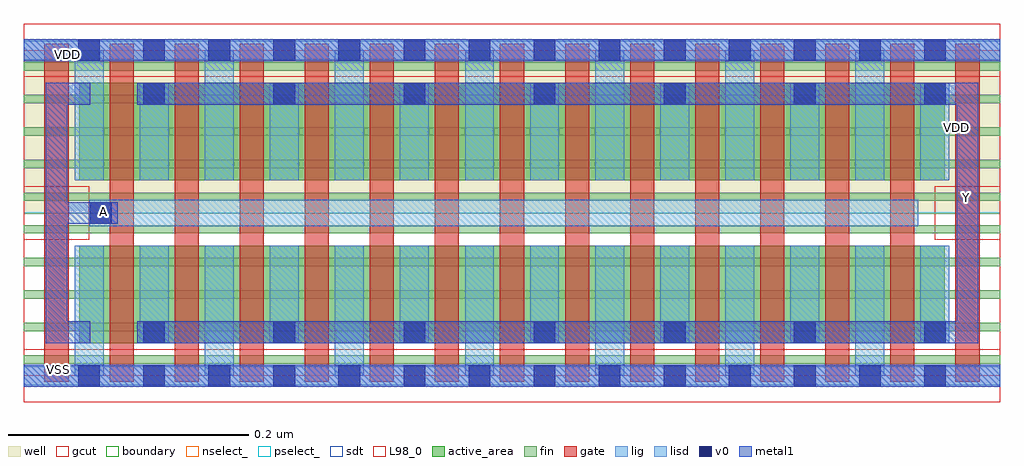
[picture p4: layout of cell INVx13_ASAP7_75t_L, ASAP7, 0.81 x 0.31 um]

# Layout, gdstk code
import gdstk
lib = gdstk.Library(unit=1e-6, precision=2.5e-10)
def R(c, l, rs):  # rectangles x0, y0, x1, y1
    for r in rs: c.add(gdstk.rectangle(r[:2], r[2:], *l))
def A(c, l, x, y, w, h, nx, ny, dx, dy):  # array of equal rectangles
    R(c, l, [(x+i*dx, y+j*dy, x+i*dx+w, y+j*dy+h) for i in range(nx) for j in range(ny)])
def P(c, l, *ps):  # polygons
    for p in ps: c.add(gdstk.Polygon(p, *l))
well = (1, 0)
fin = (2, 0)
gate = (7, 0)
gcut = (10, 0)
active_area = (11, 0)
nselect_ = (12, 0)
pselect_ = (13, 0)
lig = (16, 0)
lisd = (17, 0)
v0 = (18, 0)
metal1 = (19, 0)
sdt = (88, 0)
L98_0 = (98, 0)
boundary = (100, 0)

invx13_asap7_75t_l = lib.new_cell('INVx13_ASAP7_75t_L')
R(invx13_asap7_75t_l, well, [(0,0.135,0.81,0.27)])
A(invx13_asap7_75t_l, fin, 0, 0.01, 0.81, 0.007, 1, 10, 0, 0.027)
A(invx13_asap7_75t_l, gate, 0.017, -0.005, 0.02, 0.2805, 15, 1, 0.054, 0)
R(invx13_asap7_75t_l, gcut, [(0,-0.022,0.81,0.022), (0,0.113,0.054,0.157), (0.756,0.113,0.81,0.157), (0,0.248,0.81,0.292)])
R(invx13_asap7_75t_l, active_area, [(0.046,0.027,0.764,0.108), (0.046,0.162,0.764,0.243)])
R(invx13_asap7_75t_l, nselect_, [(0,0,0.81,0.135)])
R(invx13_asap7_75t_l, pselect_, [(0,0.135,0.81,0.27)])
R(invx13_asap7_75t_l, lig, [(0,-0.008,0.81,0.008), (0.054,0.124,0.742,0.146), (0,0.262,0.81,0.278)])
A(invx13_asap7_75t_l, lisd, 0.042, 0, 0.024, 0.108, 7, 2, 0.108, 0.162)
A(invx13_asap7_75t_l, lisd, 0.096, 0.027, 0.024, 0.081, 7, 2, 0.108, 0.135)
A(invx13_asap7_75t_l, v0, 0.045, -0.009, 0.018, 0.018, 14, 2, 0.054, 0.27)
A(invx13_asap7_75t_l, v0, 0.099, 0.027, 0.018, 0.018, 7, 2, 0.108, 0.198)
R(invx13_asap7_75t_l, v0, [(0.055,0.126,0.073,0.144)])
R(invx13_asap7_75t_l, metal1, [(0,-0.009,0.81,0.009), (0,0.261,0.81,0.279)])
P(invx13_asap7_75t_l, metal1, [(0.078,0.144),(0.036,0.144),(0.036,0.225),(0.055,0.225),(0.055,0.243),(0.018,0.243),(0.018,0.027),(0.055,0.027),(0.055,0.045),(0.036,0.045),(0.036,0.126),(0.078,0.126)],
  [(0.792,0.243),(0.094,0.243),(0.094,0.225),(0.774,0.225),(0.774,0.045),(0.094,0.045),(0.094,0.027),(0.792,0.027)])
A(invx13_asap7_75t_l, sdt, 0.042, 0.027, 0.024, 0.081, 14, 2, 0.054, 0.135)
R(invx13_asap7_75t_l, L98_0, [(0,0,0.81,0.27)])
R(invx13_asap7_75t_l, boundary, [(0,0,0.81,0.27)])
invx13_asap7_75t_l.add(gdstk.Label('VDD', (0.774,0.206), layer=1, texttype=251))
invx13_asap7_75t_l.add(gdstk.Label('VSS', (0.029,0.005), layer=19, texttype=251))
invx13_asap7_75t_l.add(gdstk.Label('VDD', (0.036,0.2665), layer=19, texttype=251))
invx13_asap7_75t_l.add(gdstk.Label('A', (0.066,0.1365), layer=19, texttype=251))
invx13_asap7_75t_l.add(gdstk.Label('Y', (0.7825,0.1475), layer=19, texttype=251))
invx13_asap7_75t_l.add(gdstk.Label('VSS', (0.843,0.205), layer=3, texttype=251))

lib.write_gds('INVx13_ASAP7_75t_L.gds')
